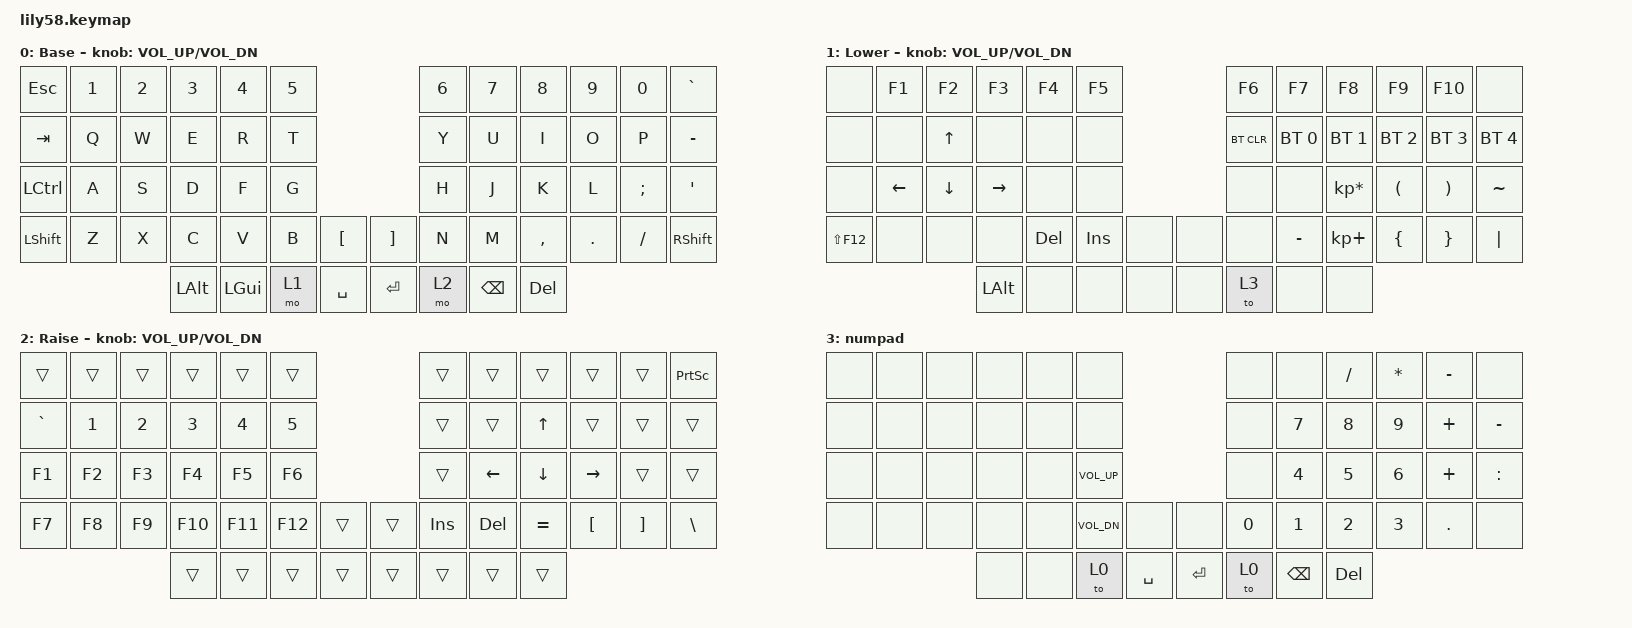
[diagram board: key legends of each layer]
/*
 * Copyright (c) 2020 The ZMK Contributors
 *
 * SPDX-License-Identifier: MIT
 */

#include <behaviors.dtsi>
#include <dt-bindings/zmk/bt.h>
#include <dt-bindings/zmk/keys.h>

/ {
    keymap {
        compatible = "zmk,keymap";

        default_layer {
            // ------------------------------------------------------------------------------------------------------------
            // |  ESC  |  1  |  2  |  3   |  4   |  5   |                   |  6   |  7    |  8    |  9   |   0   |   `   |
            // |  TAB  |  Q  |  W  |  E   |  R   |  T   |                   |  Y   |  U    |  I    |  O   |   P   |   -   |
            // |  CTRL |  A  |  S  |  D   |  F   |  G   |                   |  H   |  J    |  K    |  L   |   ;   |   '   |
            // | SHIFT |  Z  |  X  |  C   |  V   |  B   |   "["  |  |  "]"  |  N   |  M    |  ,    |  .   |   /   | SHIFT |
            //                     | ALT  | GUI  | LOWER|  SPACE |  | ENTER | RAISE| BSPC  | GUI   |

            display-name = "Base";
            bindings = <
&kp ESC    &kp N1  &kp N2  &kp N3    &kp N4    &kp N5                         &kp N6  &kp N7    &kp N8      &kp N9   &kp N0    &kp GRAVE
&kp TAB    &kp Q   &kp W   &kp E     &kp R     &kp T                          &kp Y   &kp U     &kp I       &kp O    &kp P     &kp MINUS
&kp LCTRL  &kp A   &kp S   &kp D     &kp F     &kp G                          &kp H   &kp J     &kp K       &kp L    &kp SEMI  &kp SQT
&kp LSHFT  &kp Z   &kp X   &kp C     &kp V     &kp B   &kp LBKT     &kp RBKT  &kp N   &kp M     &kp COMMA   &kp DOT  &kp FSLH  &kp RSHFT
                           &kp LALT  &kp LGUI  &mo 1   &kp SPACE    &kp RET   &mo 2   &kp BSPC  &kp DELETE
            >;

            sensor-bindings = <&inc_dec_kp C_VOL_UP C_VOL_DN>;
        };

        lower_layer {
            // ------------------------------------------------------------------------------------------------------------
            // | BTCLR | BT1 | BT2 |  BT3 |  BT4 |  BT5 |                   |      |       |       |      |       |       |
            // |  F1   |  F2 |  F3 |  F4  |  F5  |  F6  |                   |  F7  |  F8   |  F9   |  F10 |  F11  |  F12  |
            // |   `   |  !  |  @  |  #   |  $   |  %   |                   |  ^   |  &    |  *    |  (   |   )   |   ~   |
            // |       |     |     |      |      |      |        |  |       |      |  _    |  +    |  {   |   }   |  "|"  |
            //                     |      |      |      |        |  |       |      |       |       |

            display-name = "Lower";
            bindings = <
&none        &kp F1          &kp F2          &kp F3           &kp F4      &kp F5                   &kp F6      &kp F7        &kp F8           &kp F9        &kp F10       &none
&none        &none           &kp UP_ARROW    &none            &none       &none                    &bt BT_CLR  &bt BT_SEL 0  &bt BT_SEL 1     &bt BT_SEL 2  &bt BT_SEL 3  &bt BT_SEL 4
&none        &kp LEFT_ARROW  &kp DOWN_ARROW  &kp RIGHT_ARROW  &none       &none                    &none       &none         &kp KP_MULTIPLY  &kp LPAR      &kp RPAR      &kp TILDE
&kp LS(F12)  &none           &none           &none            &kp DELETE  &kp INS  &none    &none  &none       &kp MINUS     &kp KP_PLUS      &kp LBRC      &kp RBRC      &kp PIPE
                                             &kp LEFT_ALT     &none       &none    &none    &none  &to 3       &none         &none
            >;

            sensor-bindings = <&inc_dec_kp C_VOL_UP C_VOL_DN>;
        };

        raise_layer {
            // ------------------------------------------------------------------------------------------------------------
            // |       |     |     |      |      |      |                   |      |       |       |      |       |       |
            // |   `   |  1  |  2  |  3   |  4   |  5   |                   |  6   |   7   |   8   |  9   |   0   |       |
            // |   F1  |  F2 |  F3 |  F4  |  F5  |  F6  |                   |      |   <-  |   v   |  ^   |  ->   |       |
            // |   F7  |  F8 |  F9 |  F10 |  F11 |  F12 |        |  |       |  +   |   -   |   =   |  [   |   ]   |   \   |
            //                     |      |      |      |        |  |       |      |       |       |

            display-name = "Raise";
            bindings = <
&trans     &trans  &trans  &trans   &trans   &trans                     &trans   &trans      &trans        &trans     &trans    &kp PRINTSCREEN
&kp GRAVE  &kp N1  &kp N2  &kp N3   &kp N4   &kp N5                     &trans   &trans      &kp UP_ARROW  &trans     &trans    &trans
&kp F1     &kp F2  &kp F3  &kp F4   &kp F5   &kp F6                     &trans   &kp LEFT    &kp DOWN      &kp RIGHT  &trans    &trans
&kp F7     &kp F8  &kp F9  &kp F10  &kp F11  &kp F12  &trans    &trans  &kp INS  &kp DELETE  &kp EQUAL     &kp LBKT   &kp RBKT  &kp BSLH
                           &trans   &trans   &trans   &trans    &trans  &trans   &trans      &trans
            >;

            sensor-bindings = <&inc_dec_kp C_VOL_UP C_VOL_DN>;
        };

        numpad {
            bindings = <
&none  &none  &none  &none  &none  &none                                    &none         &none          &kp SLASH   &kp ASTERISK  &kp MINUS   &none
&none  &none  &none  &none  &none  &none                                    &none         &kp N7         &kp N8      &kp N9        &kp PLUS    &kp MINUS
&none  &none  &none  &none  &none  &kp C_VOLUME_UP                          &none         &kp N4         &kp N5      &kp N6        &kp PLUS    &kp COLON
&none  &none  &none  &none  &none  &kp C_VOL_DN     &none        &none      &kp NUMBER_0  &kp N1         &kp N2      &kp N3        &kp PERIOD  &none
                     &none  &none  &to 0            &kp SPACE    &kp ENTER  &to 0         &kp BACKSPACE  &kp DELETE
            >;
        };
    };
};
